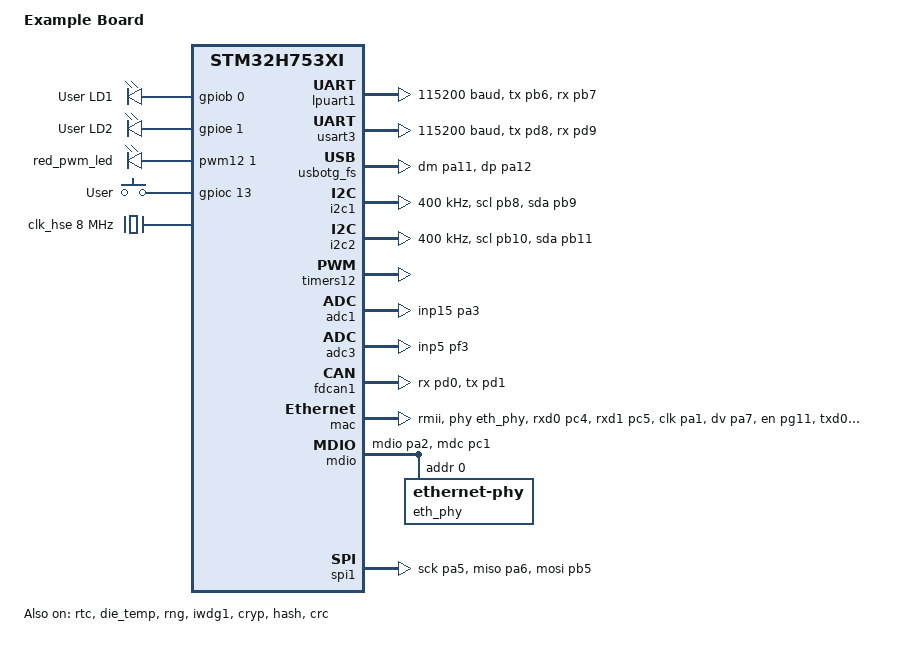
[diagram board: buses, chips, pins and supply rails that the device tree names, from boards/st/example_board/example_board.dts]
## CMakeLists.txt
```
cmake_minimum_required(VERSION 3.28.0)

list(
    APPEND 
    EXTRA_CONF_FILE
        ${CMAKE_CURRENT_SOURCE_DIR}/embedded-pio/zephyrcan/zephyrcan.conf
        ${CMAKE_CURRENT_SOURCE_DIR}/embedded-pio/zephyrethernet/zephyrethernet.conf
        ${CMAKE_CURRENT_SOURCE_DIR}/embedded-pio/updatemanager_eth/updatemanager_eth.conf
        ${CMAKE_CURRENT_SOURCE_DIR}/embedded-pio/updatemanager_can/updatemanager_can.conf
        ${CMAKE_CURRENT_SOURCE_DIR}/embedded-pio/coordinator/coordinator.conf
)

find_package(Zephyr REQUIRED HINTS $ENV{ZEPHYR_BASE})
project(canBreakout)

add_subdirectory(embedded-pio/coordinator)
add_subdirectory(embedded-pio/zephyrcan)
add_subdirectory(embedded-pio/zephyrethernet)
add_subdirectory(embedded-pio/updatemanager_eth)
add_subdirectory(embedded-pio/updatemanager_can)

target_include_directories(app 
    PRIVATE 
        inc
)

target_sources(app 
    PRIVATE 
        src/main.cpp
        src/canbreakout.cpp
        inc/canbreakout.h
        inc/const.h
)

target_link_libraries(app
    PRIVATE
        coordinator
        zephyrcan
        zephyrethernet
        updatemanager_eth
        updatemanager_can
)
```

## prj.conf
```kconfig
CONFIG_LOG=y

CONFIG_CPP=y
CONFIG_STD_CPP17=y
CONFIG_GLIBCXX_LIBCPP=y
CONFIG_NEWLIB_LIBC=y
CONFIG_HEAP_MEM_POOL_SIZE=4096

CONFIG_MAIN_STACK_SIZE=2048
```

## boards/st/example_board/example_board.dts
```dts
/*
 * Copyright (c) 2021 Blue Clover Devices
 *
 * SPDX-License-Identifier: Apache-2.0
 */

/dts-v1/;
#include <st/h7/stm32h753Xi.dtsi>
#include <st/h7/stm32h753zitx-pinctrl.dtsi>
#include "arduino_r3_connector.dtsi"
#include <zephyr/dt-bindings/input/input-event-codes.h>

/ {
	model = "Example Board";
	compatible = "st,example-board";

	chosen {
		zephyr,console = &usart3;
		zephyr,shell-uart = &usart3;
		zephyr,sram = &sram0;
		zephyr,flash = &flash0;
		zephyr,dtcm = &dtcm;
		zephyr,code-partition = &slot0_partition;
		zephyr,canbus = &fdcan1;
	};

	leds: leds {
		compatible = "gpio-leds";

		green_led: led_0 {
			gpios = <&gpiob 0 GPIO_ACTIVE_HIGH>;
			label = "User LD1";
		};

		yellow_led: led_1 {
			gpios = <&gpioe 1 GPIO_ACTIVE_HIGH>;
			label = "User LD2";
		};
	};

	pwmleds {
		compatible = "pwm-leds";

		red_pwm_led: red_pwm_led {
			pwms = <&pwm12 1 PWM_MSEC(20) PWM_POLARITY_NORMAL>;
		};
	};

	gpio_keys {
		compatible = "gpio-keys";

		user_button: button_0 {
			label = "User";
			gpios = <&gpioc 13 GPIO_ACTIVE_HIGH>;
			zephyr,code = <INPUT_KEY_0>;
		};
	};

	aliases {
		die-temp0 = &die_temp;
		led0 = &green_led;
		led1 = &yellow_led;
		pwm-led0 = &red_pwm_led;
		rtc = &rtc;
		sw0 = &user_button;
		volt-sensor1 = &vbat;
		watchdog0 = &iwdg;
	};
};

&clk_lsi {
	status = "okay";
};

&clk_hsi48 {
	status = "okay";
};

&clk_hse {
	hse-bypass;
	clock-frequency = <DT_FREQ_M(8)>; /* STLink 8MHz clock */
	status = "okay";
};

&pll {
	div-m = <2>;
	mul-n = <240>;
	div-p = <2>;
	div-q = <2>;
	div-r = <2>;
	clocks = <&clk_hse>;
	status = "okay";
};

&pll2 {
	div-m = <4>;
	mul-n = <120>;
	div-p = <2>;
	div-q = <3>; /* gives 80MHz to the FDCAN */
	div-r = <2>;
	clocks = <&clk_hse>;
	status = "okay";
};

&rcc {
	clocks = <&pll>;
	clock-frequency = <DT_FREQ_M(480)>;
	d1cpre = <1>;
	hpre = <2>;
	d1ppre = <2>;
	d2ppre1 = <2>;
	d2ppre2 = <2>;
	d3ppre = <2>;
};

&pwr {
	power-supply = "ldo";
};

&lpuart1 {
	pinctrl-0 = <&lpuart1_tx_pb6 &lpuart1_rx_pb7>;
	pinctrl-names = "default";
	current-speed = <115200>;
	status = "okay";
};

&usart3 {
	pinctrl-0 = <&usart3_tx_pd8 &usart3_rx_pd9>;
	pinctrl-names = "default";
	current-speed = <115200>;
	status = "okay";
};

zephyr_udc0: &usbotg_fs {
	pinctrl-0 = <&usb_otg_fs_dm_pa11 &usb_otg_fs_dp_pa12>;
	pinctrl-names = "default";
	status = "okay";
};

&rtc {
	clocks = <&rcc STM32_CLOCK(APB4, 16)>,
		 <&rcc STM32_SRC_LSI RTC_SEL(2)>;
	status = "okay";
};

&i2c1 {
	pinctrl-0 = <&i2c1_scl_pb8 &i2c1_sda_pb9>;
	pinctrl-names = "default";
	scl-gpios = <&gpiob 8 GPIO_ACTIVE_HIGH>;
	sda-gpios = <&gpiob 9 GPIO_ACTIVE_HIGH>;
	status = "okay";
	clock-frequency = <I2C_BITRATE_FAST>;
};

&i2c2 {
	pinctrl-0 = <&i2c2_scl_pb10 &i2c2_sda_pb11>;
	pinctrl-names = "default";
	scl-gpios = <&gpiob 10 GPIO_ACTIVE_HIGH>;
	sda-gpios = <&gpiob 11 GPIO_ACTIVE_HIGH>;
	status = "okay";
	clock-frequency = <I2C_BITRATE_FAST>;
};

&timers12 {
	st,prescaler = <10000>;
	status = "okay";

	pwm12: pwm {
		status = "okay";
		pinctrl-0 = <&tim12_ch1_pb14>;
		pinctrl-names = "default";
	};
};

&adc1 {
	pinctrl-0 = <&adc1_inp15_pa3>;
	pinctrl-names = "default";
	st,adc-clock-source = "SYNC";
	st,adc-prescaler = <4>;
	status = "okay";
};

&adc3 {
	pinctrl-0 = <&adc3_inp5_pf3>;
	pinctrl-names = "default";
	st,adc-clock-source = "SYNC";
	st,adc-prescaler = <4>;
	status = "okay";
};

&die_temp {
	status = "okay";
};

&rng {
	status = "okay";
};

&fdcan1 {
	clocks = <&rcc STM32_CLOCK(APB1_2, 8)>,
		 <&rcc STM32_SRC_PLL2_Q FDCAN_SEL(2)>;
	pinctrl-0 = <&fdcan1_rx_pd0 &fdcan1_tx_pd1>;
	pinctrl-names = "default";
	status = "okay";
};

/*
 * WARNING:
 * Possible pin conflicts:
 *          The pins PA2 and PB13 may conflict on selection of ETH_STM32_HAL,
 *          since they are used in ST Zio or ST morpho connectors.
 *          To avoid conflicting states the jumpers JP6 and JP7
 *          must be in ON state.
 */
&mac {
	status = "okay";
	pinctrl-0 = <&eth_rxd0_pc4
		     &eth_rxd1_pc5
		     &eth_ref_clk_pa1
		     &eth_crs_dv_pa7
		     &eth_tx_en_pg11
		     &eth_txd0_pg13
		     &eth_txd1_pb13>;
	pinctrl-names = "default";
	phy-connection-type = "rmii";
	phy-handle = <&eth_phy>;
};

&mdio {
	status = "okay";
	pinctrl-0 = <&eth_mdio_pa2 &eth_mdc_pc1>;
	pinctrl-names = "default";

	eth_phy: ethernet-phy@0 {
		compatible = "ethernet-phy";
		reg = <0x00>;
	};
};

&spi1 {
	status = "okay";
	pinctrl-0 = <&spi1_sck_pa5 &spi1_miso_pa6 &spi1_mosi_pb5>;
	pinctrl-names = "default";
	cs-gpios = <&gpiod 14 (GPIO_ACTIVE_LOW | GPIO_PULL_UP)>;
};

&flash0 {
	#address-cells = <1>;
	#size-cells = <1>;
	ranges = <0x0 0x08000000 DT_SIZE_M(2)>;

	partitions {
		#address-cells = <1>;
		#size-cells = <1>;
		ranges;

		/* 128KB for bootloader */
		boot_partition: partition@0 {
			compatible = "zephyr,mapped-partition";
			label = "mcuboot";
			reg = <0x00000000 DT_SIZE_K(128)>;
			read-only;
		};

		/* application image slot: 512KB */
		slot0_partition: partition@20000 {
			compatible = "zephyr,mapped-partition";
			label = "image-0";
			reg = <0x00020000 DT_SIZE_K(512)>;
		};

		/* storage: 384KB for settings */
		storage_partition: partition@a0000 {
			compatible = "zephyr,mapped-partition";
			label = "storage";
			reg = <0x000A0000 DT_SIZE_K(384)>;
		};

		//BANK 2
		/* backup slot: 640KB */
		slot1_partition: partition@100000 {
			compatible = "zephyr,mapped-partition";
			label = "image-1";
			reg = <0x00100000 DT_SIZE_K(640)>;
		};

		/* payload slot: 384KB */
		payload_partition: partition@1a0000 {
			compatible = "zephyr,mapped-partition";
			label = "payload";
			reg = <0x001a0000 DT_SIZE_K(384)>;
		};
	};
};

&iwdg1 {
	status = "okay";
};

&cryp {
	status = "okay";
};

&hash {
	status = "okay";
};

&crc {
	status = "okay";
};
```

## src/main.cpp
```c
#include <zephyr/kernel.h>
#include <zephyr/logging/log.h>
#include <zephyr/storage/flash_map.h>
#include "const.h"
#include "canbreakout.h"
#include "updatemanager_eth.h"
#include "updatemanager_can.h"
#include "coordinator.h"

LOG_MODULE_REGISTER(main, LOG_LEVEL_INF);

#if PARTITION_EXISTS(payload_partition)
void updateCoordinatorTask(void * p1, void * p2, void * p3) {
    while (1) {
        board_id_t boardId = waitForPayload();
        beginCanSend(boardId);
        waitCanSendDone();
    }
}
#endif

int main(void) {
    LOG_INF("Hello World DEVELOP----- %s\n", CONFIG_BOARD_TARGET);
    //Static so that it does not take main's stack
    static CANBreakout canBus(canDev, CAN_IDS, sizeof(CAN_IDS)/sizeof(CAN_IDS[0]));
    canBus.begin();

    if (canBus.canStatus() != CAN_OK) {
        LOG_ERR("CAN init failed: %d", canBus.canStatus());
        return -1;
    }
    
    while(1) {
        if (canBus.canStatus() != CAN_OK)
        {
            break;
        }

        k_msleep(1000);
    }
    
    return 0;
}

#if PARTITION_EXISTS(payload_partition)
K_THREAD_DEFINE(update_manager_eth, 4096, ethernetUpdateTask, NULL, NULL, NULL, 7, 0, 0);
K_THREAD_DEFINE(update_manager_can, 4096, canUpdateSendTask, NULL, NULL, NULL, 7, 0, 0);
K_THREAD_DEFINE(update_coordinator, 1024, updateCoordinatorTask, NULL, NULL, NULL, 7, 0, 0);
#endif
K_THREAD_DEFINE(update_manager_can2, 4096, canUpdateTask, NULL, NULL, NULL, 7, 0, 0);
```

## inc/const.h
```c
#ifndef CONST_H
#define CONST_H

#include <zephyr/kernel.h>
#include <zephyr/device.h>
#include <zephyr/devicetree.h>

#define EXAMPLE_ID      0xFF

static const struct device * const canDev = DEVICE_DT_GET(DT_CHOSEN(zephyr_canbus));
static const uint32_t CAN_IDS[] = {EXAMPLE_ID};

#endif
```
